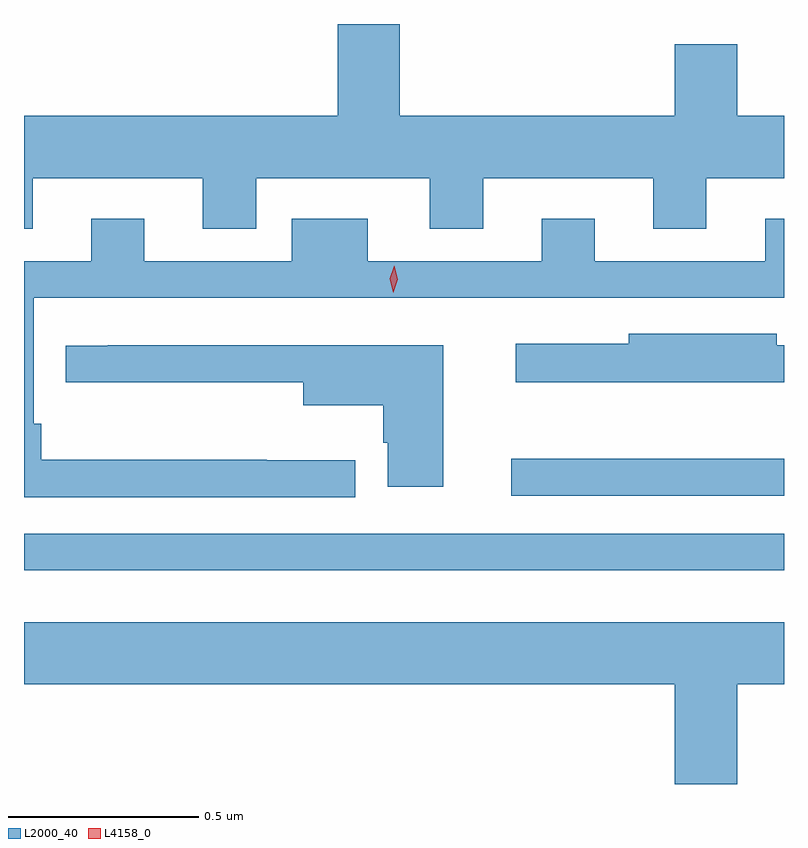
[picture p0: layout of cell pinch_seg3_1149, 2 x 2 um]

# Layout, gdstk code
import gdstk
lib = gdstk.Library(unit=1e-6, precision=1e-09)
def R(c, l, rs):  # rectangles x0, y0, x1, y1
    for r in rs: c.add(gdstk.rectangle(r[:2], r[2:], *l))
def P(c, l, *ps):  # polygons
    for p in ps: c.add(gdstk.Polygon(p, *l))
L2000_40 = (2000, 40)
L4158_0 = (4158, 0)

pinch_seg3_1149 = lib.new_cell('pinch_seg3_1149')
R(pinch_seg3_1149, L2000_40, [(127.331,714.536,129.331,714.633), (128.613,714.732,129.331,714.83)])
P(pinch_seg3_1149, L2000_40, [(127.354,715.568),(127.802,715.568),(127.802,715.435),(127.942,715.435),(127.942,715.568),(128.399,715.568),(128.399,715.435),(128.539,715.435),(128.539,715.568),(128.987,715.568),(128.987,715.435),(129.127,715.435),(129.127,715.568),(129.331,715.568),(129.331,715.732),(129.208,715.732),(129.208,715.921),(129.044,715.921),(129.044,715.732),(128.32,715.732),(128.32,715.974),(128.156,715.974),(128.156,715.732),(127.331,715.732),(127.331,715.435),(127.354,715.435)],
  [(128.203,714.826),(127.97,714.826),(127.97,714.827),(127.376,714.827),(127.376,714.922),(127.356,714.922),(127.356,715.254),(129.331,715.254),(129.331,715.462),(129.281,715.462),(129.281,715.35),(128.833,715.35),(128.833,715.462),(128.693,715.462),(128.693,715.35),(128.236,715.35),(128.236,715.462),(128.036,715.462),(128.036,715.35),(127.648,715.35),(127.648,715.462),(127.508,715.462),(127.508,715.35),(127.331,715.35),(127.331,714.729),(128.203,714.729)],
  [(129.331,715.128),(129.312,715.128),(129.312,715.159),(128.922,715.159),(128.922,715.132),(128.625,715.132),(128.625,715.031),(129.331,715.031)],
  [(128.434,715.129),(128.17,715.129),(128.17,715.128),(127.552,715.128),(127.552,715.127),(127.441,715.127),(127.441,715.031),(128.066,715.031),(128.066,714.971),(128.276,714.971),(128.276,714.872),(128.288,714.872),(128.288,714.756),(128.434,714.756)],
  [(129.208,714.236),(129.331,714.236),(129.331,714.4),(127.331,714.4),(127.331,714.236),(129.044,714.236),(129.044,713.974),(129.208,713.974)])
P(pinch_seg3_1149, L4158_0, [(128.303,715.267),(128.303,715.267),(128.294,715.303),(128.305,715.338),(128.305,715.338),(128.305,715.338),(128.314,715.302),(128.303,715.267)])

lib.write_gds('pinch_seg3_1149.gds')
